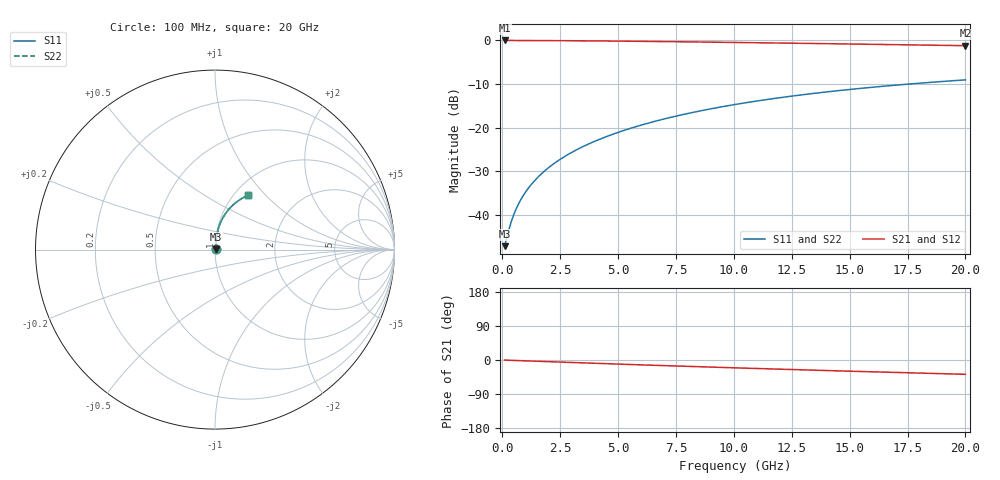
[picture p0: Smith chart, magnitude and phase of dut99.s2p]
! Touchstone file exported from HFSS 2024.1.0
!  File:  C:/UserFiles/LocalFiles/RDL_TSV_Batchsim/temp_RDL_top_99_1778683180.aedt
!  Generated:  10:41:34 PM May 13, 2026
!  Design:  RDL_top
!  Project:  temp_RDL_top_99_1778683180
!  Setup:  Setup1
!  Solution:  Sweep
! Variables:
!  dtsv = 10.80580581um
!  hbump = 3um
!  htsv = 97.99um
!  ldown = 100um
!  lrdl = 518.24um
!  p = 40
!  p1 = 47.07um
!  rhole = 1um
!  t = 450um
!  tdown = 3.915915916um
!  trdl = 2.35um
!  wdown = 15.38538539um
!  wrdl = 21.19um
# GHz S MA R 50.000000
! Terminal data exported
! Port[1] = Box2_T1
! Port[2] = Box2_T2
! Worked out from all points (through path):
!   200 points, 100 MHz to 20 GHz, reference 50 ohm
!   highest |S21| = -0.03 dB at 100 MHz (marker M1); lowest = -1.2 dB at 20 GHz (marker M2)
!   group delay of S21, straight-line fit = 5.22 ps
!   lowest |S11| = -47.1 dB at 100 MHz (marker M3), VSWR 1.01, Z = 50.4 + j0.192 ohm
!   |S11| at or under -10 dB: start of sweep to 17.59 GHz
!   |S22| runs from -47.1 to -9.1 dB; largest |S21 - S12| = 3.2e-15
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0.1  0.004402 25.7  0.996 -0.2  0.996 -0.2  0.004402 25.7
! Gamma 0 0 0 0
! Port Impedance 50 0 50 0
0.3  0.007016 53.1  0.9957 -0.7  0.9957 -0.7  0.007016 53.1
0.4  0.008583 59.4  0.9955 -0.9  0.9955 -0.9  0.008583 59.4
0.5  0.01018 63.6  0.9953 -1.1  0.9953 -1.1  0.01018 63.6
0.6  0.01179 66.7  0.9951 -1.4  0.9951 -1.4  0.01179 66.7
0.7  0.0134 69.0  0.9949 -1.6  0.9949 -1.6  0.0134 69.0
0.9  0.01663 72.4  0.9946 -2.0  0.9946 -2.0  0.01663 72.4
1.2  0.02152 75.8  0.994 -2.7  0.994 -2.7  0.02152 75.8
1.4  0.02482 77.3  0.9935 -3.1  0.9935 -3.1  0.02482 77.3
1.7  0.02982 79.0  0.9928 -3.8  0.9928 -3.8  0.02982 79.0
2.2  0.03829 80.8  0.9915 -4.9  0.9915 -4.9  0.03829 80.8
2.8  0.04865 81.9  0.9895 -6.2  0.9895 -6.2  0.04865 81.9
3.5  0.061 82.5  0.9867 -7.7  0.9867 -7.7  0.061 82.5
4.2  0.07361 82.6  0.9834 -9.1  0.9834 -9.1  0.0736 82.6
5  0.0883 82.3  0.9792 -10.8  0.9792 -10.8  0.08829 82.3
6.8  0.1222 80.7  0.9683 -14.5  0.9683 -14.5  0.1222 80.7
8.4  0.1528 78.5  0.9574 -17.6  0.9574 -17.6  0.1527 78.5
10.1  0.1852 75.9  0.9451 -20.8  0.9451 -20.8  0.1851 75.8
11.7  0.2151 73.2  0.9331 -23.7  0.9331 -23.7  0.215 73.1
13.4  0.2459 70.2  0.92 -26.8  0.92 -26.8  0.2458 70.2
16.7  0.3021 64.5  0.8941 -32.4  0.8941 -32.4  0.3019 64.4
20  0.3526 58.9  0.8681 -37.8  0.8681 -37.8  0.3524 58.9
